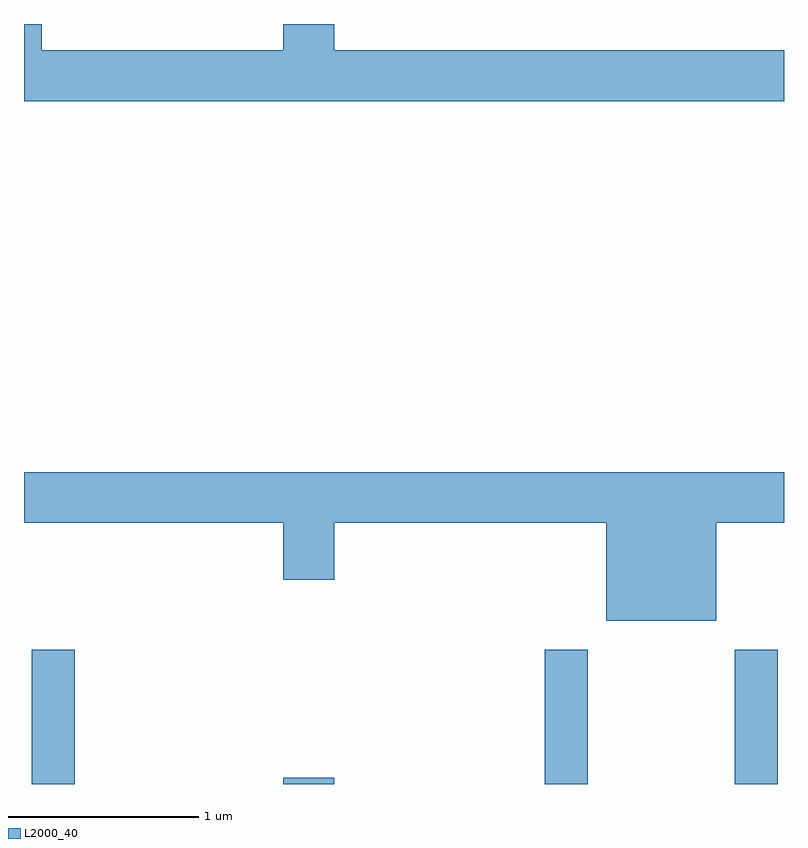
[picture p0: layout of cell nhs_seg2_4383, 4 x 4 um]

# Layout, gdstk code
import gdstk
lib = gdstk.Library(unit=1e-6, precision=1e-09)
def R(c, l, rs):  # rectangles x0, y0, x1, y1
    for r in rs: c.add(gdstk.rectangle(r[:2], r[2:], *l))
def P(c, l, *ps):  # polygons
    for p in ps: c.add(gdstk.Polygon(p, *l))
L2000_40 = (2000, 40)

nhs_seg2_4383 = lib.new_cell('nhs_seg2_4383')
R(nhs_seg2_4383, L2000_40, [(313.651,1075.802,313.879,1076.509), (314.976,1075.802,315.244,1075.834), (316.351,1075.802,316.579,1076.509), (317.351,1075.802,317.579,1076.509)])
P(nhs_seg2_4383, L2000_40, [(317.611,1079.664),(315.244,1079.664),(315.244,1079.802),(314.976,1079.802),(314.976,1079.664),(313.704,1079.664),(313.704,1079.802),(313.611,1079.802),(313.611,1079.396),(317.611,1079.396)],
  [(317.254,1077.176),(317.611,1077.176),(317.611,1077.444),(313.611,1077.444),(313.611,1077.176),(314.976,1077.176),(314.976,1076.876),(315.244,1076.876),(315.244,1077.176),(316.676,1077.176),(316.676,1076.661),(317.254,1076.661)])

lib.write_gds('nhs_seg2_4383.gds')
